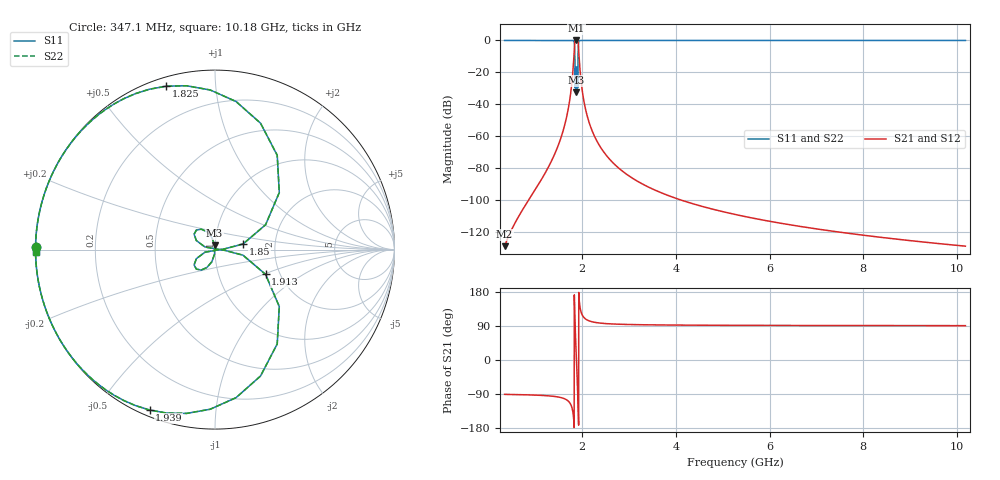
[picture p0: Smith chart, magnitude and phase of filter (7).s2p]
! rf-tools.com
! Date: Thu Jan 30 2020 11:09:46 GMT+0000 (格林尼治标准时间)
# Hz S DB R 50.00
!Frequency  S11 dB  S11 Deg  S21 dB  S21 Deg  S12 dB  S12 Deg  S22 dB  S22 Deg
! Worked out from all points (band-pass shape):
!   2000 points, 347.1 MHz to 10.18 GHz, reference 50 ohm
!   highest |S21| = 0.00 dB at 1.878 GHz (marker M1); lowest = -128.6 dB at 347.1 MHz (marker M2)
!   |S21| within 3 dB of the highest: 1.839 GHz to 1.922 GHz (83.16 MHz wide, 4.42 % of centre)
!   lowest |S11| = -32.3 dB at 1.878 GHz (marker M3), VSWR 1.05, Z = 49.7 + j2.39 ohm
!   |S11| at or under -10 dB: 1.847 GHz to 1.913 GHz (66.84 MHz wide, 3.56 % of centre)
!   |S22| runs from -32.3 to 0.0 dB; largest |S21 - S12| = 0
!   S11 on the Smith chart (normalised r, x): 347.1 MHz: 0.00, +0.01; 1.825 GHz: 0.04, +0.75; 1.85 GHz: 1.37, +0.09; 1.913 GHz: 1.68, -0.52; 1.939 GHz: 0.03, -0.67; 10.18 GHz: 0.00, -0.01
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3.47119e8  -0.00 179.3  -128.58 -90.7  -128.58 -90.7  -0.00 179.3
1.281898e9  -0.00 175.5  -79.13 -94.5  -79.13 -94.5  -0.00 175.5
1.502618e9  -0.00 172.1  -64.72 -97.9  -64.72 -97.9  -0.00 172.1
1.657373e9  -0.00 165.8  -49.50 -104.2  -49.50 -104.2  -0.00 165.8
1.77629e9  -0.01 147.2  -28.20 -122.8  -28.20 -122.8  -0.01 147.2
1.806566e9  -0.06 130.6  -18.42 -139.4  -18.42 -139.4  -0.06 130.6
1.824978e9  -0.45 106.6  -10.10 -163.4  -10.10 -163.4  -0.45 106.6
1.849821e9  -15.97 11.3  -0.11 101.3  -0.11 101.3  -15.97 11.3
1.878173e9  -32.34 94.9  -0.00 4.9  -0.00 4.9  -32.34 94.9
1.894111e9  -16.46 -133.7  -0.10 -43.7  -0.10 -43.7  -16.46 -133.7
1.913416e9  -10.07 -26.1  -0.45 -116.1  -0.45 -116.1  -10.07 -26.1
1.939462e9  -0.31 -112.2  -11.66 157.8  -11.66 157.8  -0.31 -112.2
1.985899e9  -0.01 -146.1  -27.37 123.9  -27.37 123.9  -0.01 -146.1
2.068107e9  -0.00 -161.2  -42.19 108.8  -42.19 108.8  -0.00 -161.2
2.194132e9  -0.00 -168.5  -54.93 101.5  -54.93 101.5  -0.00 -168.5
2.593748e9  -0.00 -174.6  -74.43 95.4  -74.43 95.4  -0.00 -174.6
2.817691e9  -0.00 -175.7  -80.66 94.3  -80.66 94.3  -0.00 -175.7
3.624583e9  -0.00 -177.5  -94.41 92.5  -94.41 92.5  -0.00 -177.5
5.26587e9  -0.00 -178.5  -108.76 91.5  -108.76 91.5  -0.00 -178.5
6.91262e9  -0.00 -179.0  -117.40 91.0  -117.40 91.0  -0.00 -179.0
8.55314e9  -0.00 -179.2  -123.66 90.8  -123.66 90.8  -0.00 -179.2
1.01795e10  -0.00 -179.3  -128.58 90.7  -128.58 90.7  -0.00 -179.3
